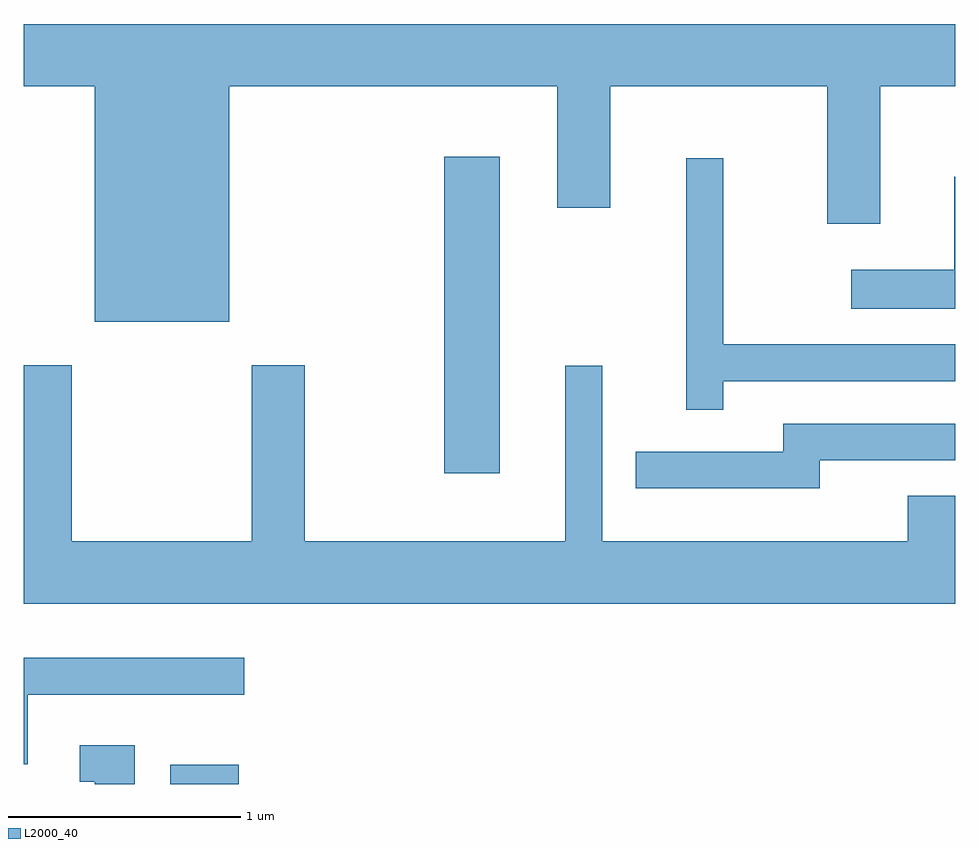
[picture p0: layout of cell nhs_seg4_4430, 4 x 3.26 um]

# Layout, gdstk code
import gdstk
lib = gdstk.Library(unit=1e-6, precision=1e-09)
def R(c, l, rs):  # rectangles x0, y0, x1, y1
    for r in rs: c.add(gdstk.rectangle(r[:2], r[2:], *l))
def P(c, l, *ps):  # polygons
    for p in ps: c.add(gdstk.Polygon(p, *l))
L2000_40 = (2000, 40)

nhs_seg4_4430 = lib.new_cell('nhs_seg4_4430')
R(nhs_seg4_4430, L2000_40, [(316.241,1273.982,316.534,1274.064), (317.416,1275.316,317.654,1276.674)])
P(nhs_seg4_4430, L2000_40, [(316.494,1276.976),(317.901,1276.976),(317.901,1276.456),(318.129,1276.456),(318.129,1276.976),(319.061,1276.976),(319.061,1276.386),(319.289,1276.386),(319.289,1276.976),(319.611,1276.976),(319.611,1277.244),(315.611,1277.244),(315.611,1276.976),(315.916,1276.976),(315.916,1275.966),(316.494,1275.966)],
  [(318.614,1275.711),(319.611,1275.711),(319.611,1275.869),(318.614,1275.869),(318.614,1276.668),(318.456,1276.668),(318.456,1275.588),(318.614,1275.588)],
  [(319.611,1276.589),(319.606,1276.589),(319.606,1276.189),(319.163,1276.189),(319.163,1276.021),(319.611,1276.021)],
  [(319.611,1275.219),(319.406,1275.219),(319.406,1275.024),(318.094,1275.024),(318.094,1275.778),(317.936,1275.778),(317.936,1275.024),(316.819,1275.024),(316.819,1275.779),(316.591,1275.779),(316.591,1275.024),(315.819,1275.024),(315.819,1275.779),(315.611,1275.779),(315.611,1274.756),(319.611,1274.756)],
  [(319.029,1275.371),(319.611,1275.371),(319.611,1275.529),(318.871,1275.529),(318.871,1275.409),(318.238,1275.409),(318.238,1275.251),(319.029,1275.251)],
  [(315.629,1274.366),(316.558,1274.366),(316.558,1274.524),(315.611,1274.524),(315.611,1274.066),(315.629,1274.066)],
  [(316.089,1274.149),(315.853,1274.149),(315.853,1273.991),(315.916,1273.991),(315.916,1273.982),(316.089,1273.982)])

lib.write_gds('nhs_seg4_4430.gds')
